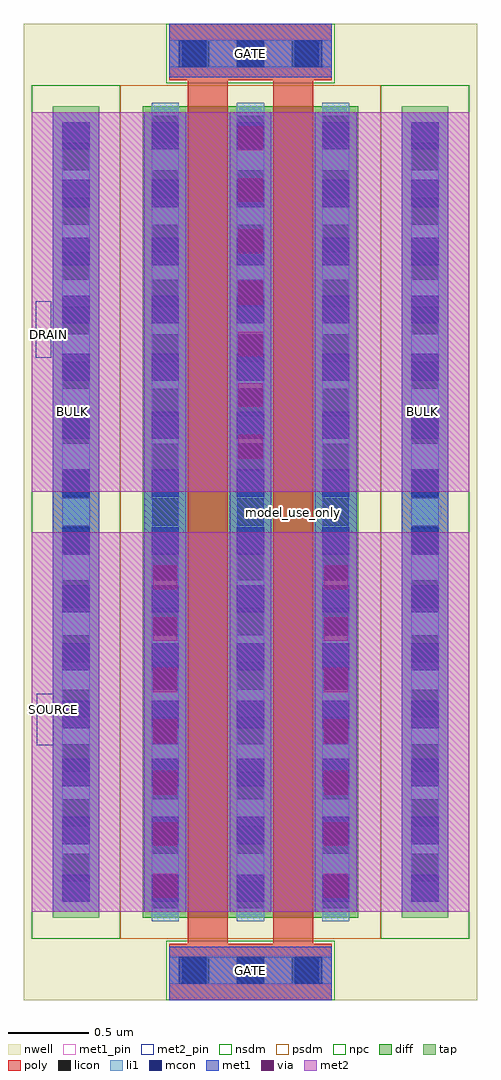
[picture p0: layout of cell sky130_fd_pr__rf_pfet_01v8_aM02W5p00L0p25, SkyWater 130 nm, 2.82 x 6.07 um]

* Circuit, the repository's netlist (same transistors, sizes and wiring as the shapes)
* Copyright 2020 The SkyWater PDK Authors
*
* Licensed under the Apache License, Version 2.0 (the "License");
* you may not use this file except in compliance with the License.
* You may obtain a copy of the License at
*
*     https://www.apache.org/licenses/LICENSE-2.0
*
* Unless required by applicable law or agreed to in writing, software
* distributed under the License is distributed on an "AS IS" BASIS,
* WITHOUT WARRANTIES OR CONDITIONS OF ANY KIND, either express or implied.
* See the License for the specific language governing permissions and
* limitations under the License.
*
* SPDX-License-Identifier: Apache-2.0


.subckt sky130_fd_pr__rf_pfet_01v8_aM02W5p00L0p25 BULK DRAIN GATE SOURCE
X0 SOURCE GATE DRAIN BULK sky130_fd_pr__pfet_01v8 w=5.05e+06u l=250000u
X1 DRAIN GATE SOURCE BULK sky130_fd_pr__pfet_01v8 w=5.05e+06u l=250000u
.ends

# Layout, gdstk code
import gdstk
lib = gdstk.Library(unit=1e-6, precision=1e-09)
def R(c, l, rs):  # rectangles x0, y0, x1, y1
    for r in rs: c.add(gdstk.rectangle(r[:2], r[2:], *l))
def A(c, l, x, y, w, h, nx, ny, dx, dy):  # array of equal rectangles
    R(c, l, [(x+i*dx, y+j*dy, x+i*dx+w, y+j*dy+h) for i in range(nx) for j in range(ny)])
nwell = (64, 20)
diff = (65, 20)
tap = (65, 44)
poly = (66, 20)
licon = (66, 44)
li1 = (67, 20)
mcon = (67, 44)
met1_pin = (68, 16)
met1 = (68, 20)
via = (68, 44)
met2_pin = (69, 16)
met2 = (69, 20)
nsdm = (93, 44)
psdm = (94, 20)
npc = (95, 20)

sky130_fd_pr__rf_pfet_01 = lib.new_cell('sky130_fd_pr__rf_pfet_01v8_aM02W5p00L0p25')
R(sky130_fd_pr__rf_pfet_01, nwell, [(0,0,2.82,6.07)])
R(sky130_fd_pr__rf_pfet_01, diff, [(0.74,0.51,2.08,5.56)])
R(sky130_fd_pr__rf_pfet_01, tap, [(0.18,0.51,0.47,5.56), (2.35,0.51,2.64,5.56)])
R(sky130_fd_pr__rf_pfet_01, poly, [(0.905,0,1.915,0.35), (1.02,0.35,1.27,5.72), (1.55,0.35,1.8,5.72), (0.905,5.72,1.915,6.07)])
A(sky130_fd_pr__rf_pfet_01, licon, 0.985, 0.1, 0.17, 0.17, 3, 2, 0.34, 5.7)
A(sky130_fd_pr__rf_pfet_01, licon, 0.795, 0.57, 0.17, 0.17, 3, 15, 0.53, 0.34)
A(sky130_fd_pr__rf_pfet_01, licon, 0.24, 0.74, 0.17, 0.17, 1, 14, 0, 0.34)
A(sky130_fd_pr__rf_pfet_01, licon, 2.41, 0.74, 0.17, 0.17, 1, 14, 0, 0.34)
A(sky130_fd_pr__rf_pfet_01, li1, 0.795, 0.49, 0.17, 5.09, 3, 1, 0.53, 0)
A(sky130_fd_pr__rf_pfet_01, li1, 0.795, 1.69, 0.17, 2.69, 3, 1, 0.53, 0)
R(sky130_fd_pr__rf_pfet_01, li1, [(0.905,0.1,1.915,0.27), (0.965,0.1,1.855,0.27), (0.24,0.61,0.41,5.46), (2.41,0.61,2.58,5.46), (0.24,0.66,0.41,5.41), (2.41,0.66,2.58,5.41), (0.24,1.68,0.41,4.39), (2.41,1.68,2.58,4.39), (0.905,5.8,1.915,5.97), (0.965,5.8,1.855,5.97)])
A(sky130_fd_pr__rf_pfet_01, mcon, 0.965, 0.1, 0.17, 0.17, 3, 2, 0.36, 5.7)
A(sky130_fd_pr__rf_pfet_01, mcon, 0.24, 0.61, 0.17, 0.17, 1, 14, 0, 0.36)
A(sky130_fd_pr__rf_pfet_01, mcon, 0.795, 0.61, 0.17, 0.17, 3, 14, 0.53, 0.36)
A(sky130_fd_pr__rf_pfet_01, mcon, 2.41, 0.61, 0.17, 0.17, 1, 14, 0, 0.36)
R(sky130_fd_pr__rf_pfet_01, met1_pin, [(0.905,0,1.915,0.33), (0.245,2.99,0.415,3.07), (2.425,2.99,2.595,3.07), (2.4,3,2.57,3.055), (0.905,5.74,1.915,6.07)])
A(sky130_fd_pr__rf_pfet_01, met1, 0.75, 0.55, 0.26, 4.97, 3, 1, 0.53, 0)
R(sky130_fd_pr__rf_pfet_01, met1, [(0.905,0,1.915,0.33), (0.18,0.55,0.47,5.52), (0.75,0.55,1.01,2.79), (1.81,0.55,2.07,2.79), (2.35,0.55,2.64,5.52), (1.28,3.28,1.54,5.52), (0.905,5.74,1.915,6.07)])
A(sky130_fd_pr__rf_pfet_01, via, 0.805, 0.635, 0.15, 0.15, 1, 7, 0, 0.32)
A(sky130_fd_pr__rf_pfet_01, via, 1.865, 0.635, 0.15, 0.15, 1, 7, 0, 0.32)
A(sky130_fd_pr__rf_pfet_01, via, 1.335, 3.365, 0.15, 0.15, 1, 7, 0, 0.32)
R(sky130_fd_pr__rf_pfet_01, met2_pin, [(0.08,1.585,0.185,1.905), (0.075,3.995,0.17,4.345)])
R(sky130_fd_pr__rf_pfet_01, met2, [(0.05,0.55,2.77,2.91), (0.75,0.55,1.01,2.79), (1.81,0.55,2.07,2.79), (0.05,3.16,2.77,5.52), (1.28,3.28,1.54,5.52)])
R(sky130_fd_pr__rf_pfet_01, nsdm, [(0.05,0.38,0.6,5.69), (2.22,0.38,2.77,5.69)])
R(sky130_fd_pr__rf_pfet_01, psdm, [(0.6,0.38,2.22,5.69)])
R(sky130_fd_pr__rf_pfet_01, npc, [(0.885,0,1.935,0.37), (0.885,5.7,1.935,6.07)])
sky130_fd_pr__rf_pfet_01.add(gdstk.Label('model_use_only', (1.675,3.03), layer=66, texttype=83))
sky130_fd_pr__rf_pfet_01.add(gdstk.Label('model_use_only', (1.145,3.03), layer=66, texttype=83))
sky130_fd_pr__rf_pfet_01.add(gdstk.Label('SOURCE', (0.185,1.805), layer=69, texttype=5))
sky130_fd_pr__rf_pfet_01.add(gdstk.Label('DRAIN', (0.155,4.14), layer=69, texttype=5))
sky130_fd_pr__rf_pfet_01.add(gdstk.Label('GATE', (1.41,5.885), layer=68, texttype=5))
sky130_fd_pr__rf_pfet_01.add(gdstk.Label('GATE', (1.41,0.185), layer=68, texttype=5))
sky130_fd_pr__rf_pfet_01.add(gdstk.Label('BULK', (2.48,3.66), layer=68, texttype=5))
sky130_fd_pr__rf_pfet_01.add(gdstk.Label('BULK', (0.3,3.66), layer=68, texttype=5))

lib.write_gds('sky130_fd_pr__rf_pfet_01v8_aM02W5p00L0p25.gds')
